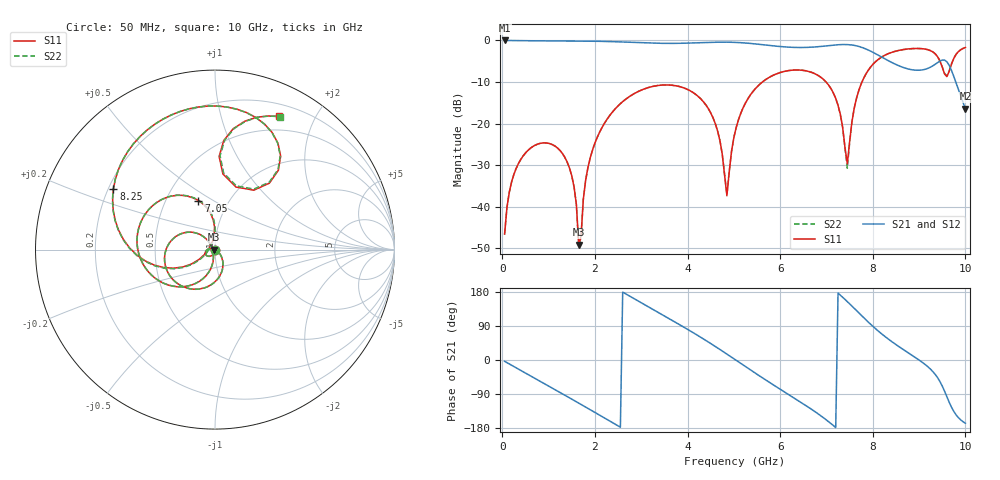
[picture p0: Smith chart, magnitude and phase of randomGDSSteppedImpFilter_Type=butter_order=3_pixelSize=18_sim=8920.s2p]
! freq	dB(S11)	phase(S11)	dB(S12)	phase(S12)
!  dB(S21)	phase(S21)	dB(S22)	phase(S22)
!S-par simulation data
#  GHz  S  DB  R 50
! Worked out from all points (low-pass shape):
!   200 points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, 50 MHz to 10 GHz, reference 50 ohm
!   highest |S21| = 0.00 dB at 50 MHz (marker M1); lowest = -16.4 dB at 10 GHz (marker M2)
!   |S21| within 3 dB of the highest: start of sweep to 8.029 GHz
!   lowest |S11| = -49.1 dB at 1.65 GHz (marker M3), VSWR 1.01, Z = 49.7 + j0.0185 ohm
!   |S11| at or under -10 dB: start of sweep to 5.617 GHz; 6.991 GHz to 7.767 GHz (775.5 MHz wide, 10.5 % of centre)
!   |S22| runs from -49.5 to -1.7 dB; largest |S21 - S12| = 0
!   S11 on the Smith chart (normalised r, x): 50 MHz: 1.00, -0.01; 7.05 GHz: 0.72, +0.43; 8.25 GHz: 0.22, +0.26; 10 GHz: 0.33, +1.54
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0.05  -46.57 -90.5  -0.00 -3.5  -0.00 -3.5  -46.57 -90.6
0.3  -30.76 -110.3  -0.05 -20.7  -0.05 -20.7  -30.76 -110.4
0.95  -24.65 -155.3  -0.10 -65.3  -0.10 -65.3  -24.65 -155.5
1.45  -30.64 171.1  -0.13 -99.8  -0.13 -99.8  -30.65 169.9
1.65  -49.10 177.0  -0.14 -113.7  -0.14 -113.7  -49.47 157.7
1.75  -38.12 -35.2  -0.15 -120.7  -0.15 -120.7  -38.14 -31.5
2.25  -19.15 -67.2  -0.25 -156.1  -0.25 -156.1  -19.15 -66.7
3.4  -10.78 -146.8  -0.69 123.2  -0.69 123.2  -10.78 -146.6
4.45  -16.41 140.9  -0.48 47.4  -0.48 47.4  -16.41 141.1
4.85  -37.34 -161.6  -0.42 15.6  -0.42 15.6  -37.06 -161.6
5.05  -20.97 -100.4  -0.48 -0.8  -0.48 -0.8  -20.96 -100.6
5.85  -8.38 -158.1  -1.30 -65.4  -1.30 -65.4  -8.38 -158.2
6.7  -7.77 137.4  -1.61 -131.9  -1.61 -131.9  -7.77 137.1
7.05  -10.79 108.7  -1.24 -163.1  -1.24 -163.1  -10.80 108.1
7.3  -17.79 91.3  -1.00 171.1  -1.00 171.1  -17.84 89.8
7.45  -29.71 158.0  -1.00 154.1  -1.00 154.1  -30.73 158.5
7.7  -11.96 -155.8  -1.45 124.2  -1.45 124.2  -11.98 -154.9
8.25  -3.62 149.2  -4.35 63.3  -4.35 63.3  -3.62 149.4
8.35  -3.11 140.2  -4.95 53.9  -4.95 53.9  -3.11 140.4
9  -1.94 88.9  -7.16 -0.1  -7.16 -0.1  -1.94 89.0
9.55  -8.06 56.8  -4.72 -82.3  -4.72 -82.3  -7.94 57.3
10  -1.70 64.4  -16.40 -166.9  -16.40 -166.9  -1.69 64.1
